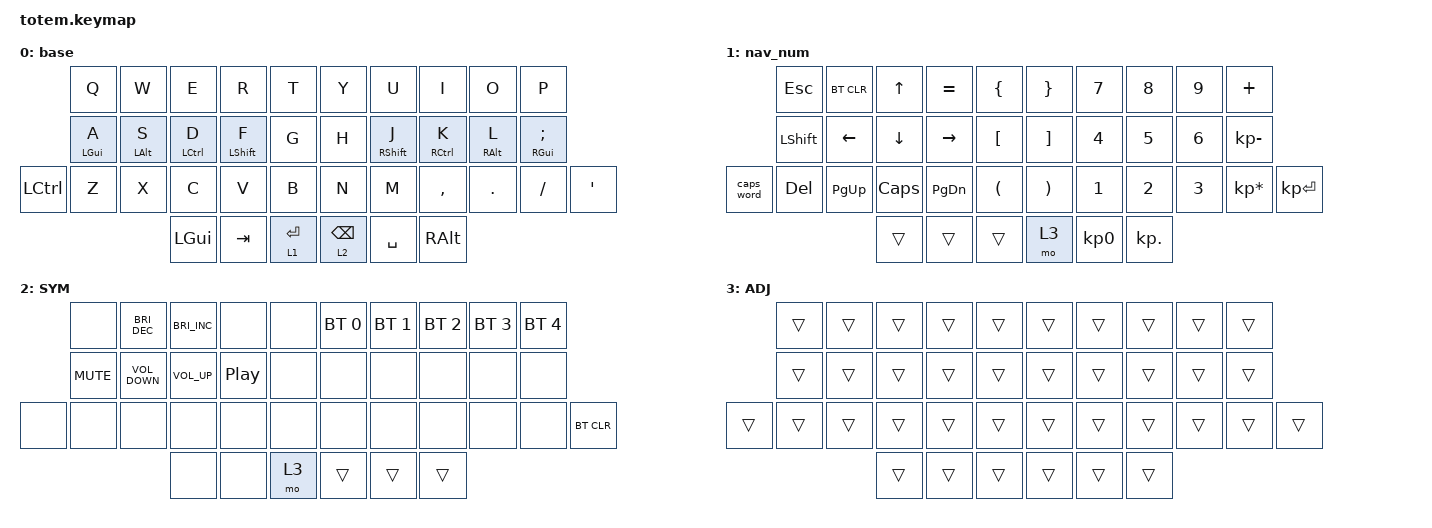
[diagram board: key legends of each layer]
//
//                                                        ▀▀▀▀▀     ▀▀▀▀▀          ▀▀█▀▀
//                                                        ▄▀▀▀▄  ▄  ▄▀▀▀▄  ▄  ▄▀▀▀▄  █  ▄▀▀▀▄
//                                                        █   █  █  █   █  █  █   █  █  █   █
//                                                         ▀▀▀   █   ▀▀▀   █   ▀▀▀   ▀   ▀▀▀
//                                                               █      ▄▄▄█▄▄▄    █   █  
//                                                               ▀      █  █  █     █▄█
//                                                             ▀▀▀▀▀    █  █  █      ▀
//                                                                      ▀  ▀  ▀
//
// ▄▄▄▄▄▄▄▄▄▄▄▄▄▄▄▄▄▄▄▄▄▄▄▄▄▄▄▄▄▄▄▄▄▄▄▄▄▄▄▄▄▄▄▄▄▄▄▄▄▄▄▄▄▄▄▄▄▄▄▄▄▄▄▄▄▄▄▄▄▄▄▄▄▄▄▄▄▄▄▄▄▄▄▄▄▄▄▄▄▄▄▄▄▄▄▄▄▄▄▄▄▄▄▄▄▄▄▄▄▄▄▄▄▄▄▄▄▄▄▄▄▄▄▄▄▄▄▄▄▄▄▄▄▄▄▄▄▄▄▄▄▄▄▄▄▄▄▄▄

#include <behaviors.dtsi>
#include <dt-bindings/zmk/bt.h>
#include <dt-bindings/zmk/keys.h>

/ {
    combos {
        compatible = "zmk,combos";

        ESC_COMBO {
            bindings = <&kp ESC>;
            key-positions = <0 1>;
        };
    };

    keymap {
        compatible = "zmk,keymap";

        base {
            bindings = <
           &kp Q           &kp W           &kp E        &kp R         &kp T          &kp Y            &kp U         &kp I          &kp O            &kp P
           &mt LEFT_GUI A  &mt LEFT_ALT S  &mt LCTRL D  &mt LSHIFT F  &kp G          &kp H            &mt RSHIFT J  &mt RCTRL K    &mt RIGHT_ALT L  &mt RIGHT_GUI SEMI
&kp LCTRL  &kp Z           &kp X           &kp C        &kp V         &kp B          &kp N            &kp M         &kp COMMA      &kp DOT          &kp FSLH            &kp APOS
                                           &kp LGUI     &kp TAB       &lt 1 ENTER    &lt 2 BACKSPACE  &kp SPACE     &kp RIGHT_ALT
            >;
        };

        nav_num {
            bindings = <
            &kp ESC     &bt BT_CLR   &kp UP        &kp EQUAL      &kp LEFT_BRACE          &kp RIGHT_BRACE        &kp N7           &kp N8      &kp N9  &kp PLUS
            &kp LSHIFT  &kp LEFT     &kp DOWN      &kp RIGHT      &kp LEFT_BRACKET        &kp RIGHT_BRACKET      &kp N4           &kp N5      &kp N6  &kp KP_MINUS
&caps_word  &kp DEL     &kp PAGE_UP  &kp CAPSLOCK  &kp PAGE_DOWN  &kp LEFT_PARENTHESIS    &kp RIGHT_PARENTHESIS  &kp N1           &kp N2      &kp N3  &kp KP_MULTIPLY  &kp KP_ENTER
                                     &trans        &trans         &trans                  &mo 3                  &kp KP_NUMBER_0  &kp KP_DOT
            >;
        };

        SYM {
            bindings = <
       &none       &kp C_BRIGHTNESS_DEC  &kp C_BRIGHTNESS_INC  &none             &none    &bt BT_SEL 0  &bt BT_SEL 1  &bt BT_SEL 2  &bt BT_SEL 3  &bt BT_SEL 4
       &kp K_MUTE  &kp C_VOLUME_DOWN     &kp C_VOLUME_UP       &kp C_PLAY_PAUSE  &none    &none         &none         &none         &none         &none
&none  &none       &none                 &none                 &none             &none    &none         &none         &none         &none         &none         &bt BT_CLR
                                         &none                 &none             &mo 3    &trans        &trans        &trans
            >;
        };

        ADJ {
            bindings = <
        &trans  &trans  &trans  &trans  &trans    &trans  &trans  &trans  &trans  &trans
        &trans  &trans  &trans  &trans  &trans    &trans  &trans  &trans  &trans  &trans
&trans  &trans  &trans  &trans  &trans  &trans    &trans  &trans  &trans  &trans  &trans  &trans
                        &trans  &trans  &trans    &trans  &trans  &trans
            >;
        };

        extra1 { status = "reserved"; };

        extra2 { status = "reserved"; };

        extra3 { status = "reserved"; };
    };

    conditional_layers {
        compatible = "zmk,conditional-layers";

        ADJ {
            if-layers = <1 2>;
            then-layer = <3>;
        };
    };
};
